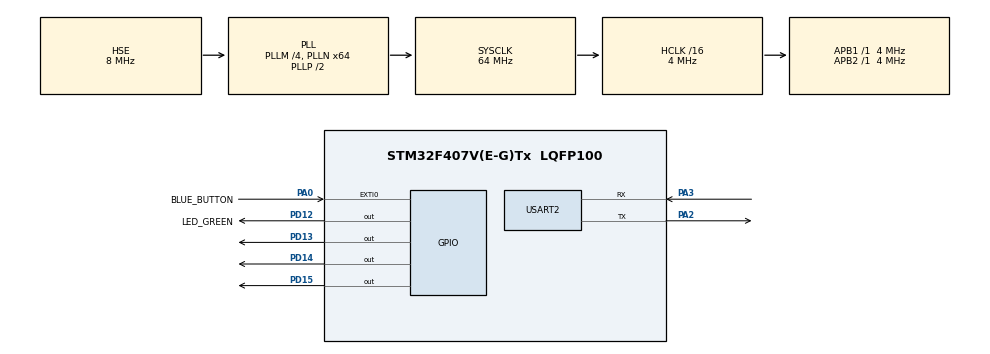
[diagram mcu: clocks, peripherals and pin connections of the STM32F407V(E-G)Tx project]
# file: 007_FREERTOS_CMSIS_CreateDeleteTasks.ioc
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FREERTOS.Tasks01=Task1,24,256,StartTask1,Default,NULL,Dynamic,NULL,NULL
FREERTOS.configUSE_NEWLIB_REENTRANT=1
Mcu.Family=STM32F4
Mcu.Name=STM32F407V(E-G)Tx
Mcu.Package=LQFP100
NVIC.EXTI0_IRQn=true\:5\:0\:false\:false\:true\:true\:true\:true\:true
NVIC.PriorityGroup=NVIC_PRIORITYGROUP_4
NVIC.TIM8_TRG_COM_TIM14_IRQn=true\:15\:0\:false\:false\:true\:false\:false\:true\:true
NVIC.TimeBase=TIM8_TRG_COM_TIM14_IRQn
NVIC.TimeBaseIP=TIM14
NVIC.USART2_IRQn=true\:5\:0\:false\:false\:true\:true\:true\:true\:true
PA0-WKUP.GPIO_Label=BLUE_BUTTON
PA0-WKUP.Signal=GPXTI0
PA13.Mode=Trace_Asynchronous_SW
PA13.Signal=SYS_JTMS-SWDIO
PA14.Mode=Trace_Asynchronous_SW
PA14.Signal=SYS_JTCK-SWCLK
PA2.Mode=Asynchronous
PA2.Signal=USART2_TX
PA3.Mode=Asynchronous
PA3.Signal=USART2_RX
PB3.Mode=Trace_Asynchronous_SW
PB3.Signal=SYS_JTDO-SWO
PD12.GPIO_Label=LED_GREEN
PD12.Signal=GPIO_Output
PD13.Signal=GPIO_Output
PD14.Signal=GPIO_Output
PD15.Signal=GPIO_Output
PH0-OSC_IN.Mode=HSE-External-Oscillator
PH0-OSC_IN.Signal=RCC_OSC_IN
PH1-OSC_OUT.Mode=HSE-External-Oscillator
PH1-OSC_OUT.Signal=RCC_OSC_OUT
ProjectManager.HeapSize=0x200
ProjectManager.StackSize=0x400
ProjectManager.TargetToolchain=STM32CubeIDE
RCC.48MHZClocksFreq_Value=18285714.285714287
RCC.AHBCLKDivider=RCC_SYSCLK_DIV16
RCC.AHBFreq_Value=4000000
RCC.APB1Freq_Value=4000000
RCC.APB1TimFreq_Value=4000000
RCC.APB2Freq_Value=4000000
RCC.APB2TimFreq_Value=4000000
RCC.CortexFreq_Value=4000000
RCC.HCLKFreq_Value=4000000
RCC.HSE_VALUE=8000000
RCC.HSI_VALUE=16000000
RCC.LSE_VALUE=32768
RCC.PLLM=4
RCC.PLLN=64
RCC.PLLQ=7
RCC.PLLSourceVirtual=RCC_PLLSOURCE_HSE
RCC.SYSCLKFreq_VALUE=64000000
RCC.SYSCLKSource=RCC_SYSCLKSOURCE_PLLCLK
RCC.VCOOutputFreq_Value=128000000
USART2.VirtualMode=VM_ASYNC
VP_FREERTOS_VS_CMSIS_V2.Mode=CMSIS_V2
VP_SYS_VS_tim14.Mode=TIM14
board=STM32F407G-DISC1

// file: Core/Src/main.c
/* USER CODE BEGIN Header */
/**
  ******************************************************************************
  * @file           : main.c
  * @brief          : Main program body
  ******************************************************************************
  * @attention
  *
  * Copyright (c) 2023 STMicroelectronics.
  * All rights reserved.
  *
  * This software is licensed under terms that can be found in the LICENSE file
  * in the root directory of this software component.
  * If no LICENSE file comes with this software, it is provided AS-IS.
  *
  ******************************************************************************
  */
/* USER CODE END Header */
#include "main.h"
#include "cmsis_os.h"

UART_HandleTypeDef huart2;

/* Definitions for Task1 */
osThreadId_t Task1Handle;
const osThreadAttr_t Task1_attributes = {
  .name = "Task1",
  .stack_size = 256 * 4,
  .priority = (osPriority_t) osPriorityNormal,
};

/* USER CODE BEGIN PV */
osThreadId_t Task2Handle;
/* USER CODE END PV */

void SystemClock_Config(void);
static void MX_GPIO_Init(void);
static void MX_USART2_UART_Init(void);
void StartTask1(void *argument);

int main(void)
{

  /* MCU Configuration--------------------------------------------------------*/

  /* Reset of all peripherals, Initializes the Flash interface and the Systick. */
  HAL_Init();

  /* Configure the system clock */
  SystemClock_Config();

  /* Initialize all configured peripherals */
  MX_GPIO_Init();
  MX_USART2_UART_Init();

  /* Init scheduler */
  osKernelInitialize();

  /* Create the thread(s) */
  /* creation of Task1 */
  Task1Handle = osThreadNew(StartTask1, NULL, &Task1_attributes);

  /* Start scheduler */
  osKernelStart();
  /* We should never get here as control is now taken by the scheduler */
  /* Infinite loop */
  while (1)
  {

  }
}

void SystemClock_Config(void)
{
  RCC_OscInitTypeDef RCC_OscInitStruct = {0};
  RCC_ClkInitTypeDef RCC_ClkInitStruct = {0};

  /** Configure the main internal regulator output voltage
  */
  __HAL_RCC_PWR_CLK_ENABLE();
  __HAL_PWR_VOLTAGESCALING_CONFIG(PWR_REGULATOR_VOLTAGE_SCALE1);

  /** Initializes the RCC Oscillators according to the specified parameters
  * in the RCC_OscInitTypeDef structure.
  */
  RCC_OscInitStruct.OscillatorType = RCC_OSCILLATORTYPE_HSE;
  RCC_OscInitStruct.HSEState = RCC_HSE_ON;
  RCC_OscInitStruct.PLL.PLLState = RCC_PLL_ON;
  RCC_OscInitStruct.PLL.PLLSource = RCC_PLLSOURCE_HSE;
  RCC_OscInitStruct.PLL.PLLM = 4;
  RCC_OscInitStruct.PLL.PLLN = 64;
  RCC_OscInitStruct.PLL.PLLP = RCC_PLLP_DIV2;
  RCC_OscInitStruct.PLL.PLLQ = 7;
  if (HAL_RCC_OscConfig(&RCC_OscInitStruct) != HAL_OK)
  {
    Error_Handler();
  }

  /** Initializes the CPU, AHB and APB buses clocks
  */
  RCC_ClkInitStruct.ClockType = RCC_CLOCKTYPE_HCLK|RCC_CLOCKTYPE_SYSCLK
                              |RCC_CLOCKTYPE_PCLK1|RCC_CLOCKTYPE_PCLK2;
  RCC_ClkInitStruct.SYSCLKSource = RCC_SYSCLKSOURCE_PLLCLK;
  RCC_ClkInitStruct.AHBCLKDivider = RCC_SYSCLK_DIV16;
  RCC_ClkInitStruct.APB1CLKDivider = RCC_HCLK_DIV1;
  RCC_ClkInitStruct.APB2CLKDivider = RCC_HCLK_DIV1;

  if (HAL_RCC_ClockConfig(&RCC_ClkInitStruct, FLASH_LATENCY_0) != HAL_OK)
  {
    Error_Handler();
  }
}

static void MX_USART2_UART_Init(void)
{

  huart2.Instance = USART2;
  huart2.Init.BaudRate = 115200;
  huart2.Init.WordLength = UART_WORDLENGTH_8B;
  huart2.Init.StopBits = UART_STOPBITS_1;
  huart2.Init.Parity = UART_PARITY_NONE;
  huart2.Init.Mode = UART_MODE_TX_RX;
  huart2.Init.HwFlowCtl = UART_HWCONTROL_NONE;
  huart2.Init.OverSampling = UART_OVERSAMPLING_16;
  if (HAL_UART_Init(&huart2) != HAL_OK)
  {
    Error_Handler();
  }

}

static void MX_GPIO_Init(void)
{
  GPIO_InitTypeDef GPIO_InitStruct = {0};

  /* GPIO Ports Clock Enable */
  __HAL_RCC_GPIOH_CLK_ENABLE();
  __HAL_RCC_GPIOA_CLK_ENABLE();
  __HAL_RCC_GPIOD_CLK_ENABLE();
  __HAL_RCC_GPIOB_CLK_ENABLE();

  /*Configure GPIO pin Output Level */
  HAL_GPIO_WritePin(GPIOD, LED_GREEN_Pin|GPIO_PIN_13|GPIO_PIN_14|GPIO_PIN_15, GPIO_PIN_RESET);

  /*Configure GPIO pin : BLUE_BUTTON_Pin */
  GPIO_InitStruct.Pin = BLUE_BUTTON_Pin;
  GPIO_InitStruct.Mode = GPIO_MODE_IT_RISING;
  GPIO_InitStruct.Pull = GPIO_NOPULL;
  HAL_GPIO_Init(BLUE_BUTTON_GPIO_Port, &GPIO_InitStruct);

  /*Configure GPIO pins : LED_GREEN_Pin PD13 PD14 PD15 */
  GPIO_InitStruct.Pin = LED_GREEN_Pin|GPIO_PIN_13|GPIO_PIN_14|GPIO_PIN_15;
  GPIO_InitStruct.Mode = GPIO_MODE_OUTPUT_PP;
  GPIO_InitStruct.Pull = GPIO_NOPULL;
  GPIO_InitStruct.Speed = GPIO_SPEED_FREQ_LOW;
  HAL_GPIO_Init(GPIOD, &GPIO_InitStruct);

  /* EXTI interrupt init*/
  HAL_NVIC_SetPriority(EXTI0_IRQn, 5, 0);
  HAL_NVIC_EnableIRQ(EXTI0_IRQn);

}

/* USER CODE BEGIN 4 */
void Task_action(char message)
{
	ITM_SendChar(message);
	ITM_SendChar('\n');
}
void StartTask2(void *argument)
{
	for(;;)
	{
		Task_action('2');
		osThreadTerminate(Task2Handle);
		Task_action('x');
	}
}
/* USER CODE END 4 */

void StartTask1(void *argument)
{
  /* USER CODE BEGIN 5 */
  const osThreadAttr_t Task2_attributes = {
		  .name = "Task2",
		  .priority = (osPriority_t) osPriorityNormal,
		  .stack_size = 256
  };
  /* Infinite loop */
  for(;;)
  {
    Task_action('1');
    Task2Handle = osThreadNew(StartTask2, NULL, &Task2_attributes);
    osDelay(1000);
  }
  /* USER CODE END 5 */
}

void HAL_TIM_PeriodElapsedCallback(TIM_HandleTypeDef *htim)
{
  if (htim->Instance == TIM14) {
    HAL_IncTick();
  }
}

void Error_Handler(void)
{
  __disable_irq();
  while (1)
  {
  }
}
